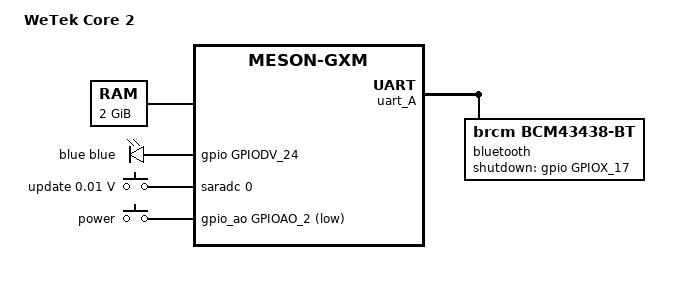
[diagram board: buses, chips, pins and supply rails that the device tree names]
// SPDX-License-Identifier: (GPL-2.0+ OR MIT)
/*
 * Copyright (c) 2020 Christian Hewitt <christianshewitt@gmail.com>
 */

/dts-v1/;

#include "meson-gxm.dtsi"
#include "meson-gx-p23x-q20x.dtsi"
#include <dt-bindings/input/input.h>
#include <dt-bindings/leds/common.h>

/ {
	compatible = "wetek,core2", "amlogic,s912", "amlogic,meson-gxm";
	model = "WeTek Core 2";

	memory@0 {
		device_type = "memory";
		reg = <0x0 0x0 0x0 0x80000000>; /* 2 GiB or 3 GiB */
	};

	leds {
		compatible = "gpio-leds";

		blue {
			color = <LED_COLOR_ID_BLUE>;
			function = LED_FUNCTION_STATUS;
			gpios = <&gpio GPIODV_24 GPIO_ACTIVE_HIGH>;
			default-state = "on";
		};
	};

	adc-keys {
		compatible = "adc-keys";
		io-channels = <&saradc 0>;
		io-channel-names = "buttons";
		keyup-threshold-microvolt = <1710000>;

		button-update {
			label = "update";
			linux,code = <KEY_VENDOR>;
			press-threshold-microvolt = <10000>;
		};
	};

	gpio-keys-polled {
		compatible = "gpio-keys-polled";
		#address-cells = <1>;
		#size-cells = <0>;
		poll-interval = <100>;

		button-power {
			label = "power";
			linux,code = <KEY_POWER>;
			gpios = <&gpio_ao GPIOAO_2 GPIO_ACTIVE_LOW>;
		};
	};
};

/* Disabled as Realtek RTL8152 USB provides Ethernet */
&ethmac {
	status = "disabled";
};

&internal_phy {
	status = "disabled";
};

&ir {
	linux,rc-map-name = "rc-wetek-play2";
};

/* This is connected to the Bluetooth module: */
&uart_A {
	status = "okay";
	pinctrl-0 = <&uart_a_pins>, <&uart_a_cts_rts_pins>;
	pinctrl-names = "default";
	uart-has-rtscts;

	bluetooth {
		compatible = "brcm,bcm43438-bt";
		shutdown-gpios = <&gpio GPIOX_17 GPIO_ACTIVE_HIGH>;
		max-speed = <2000000>;
		clocks = <&wifi32k>;
		clock-names = "lpo";
	};
};
